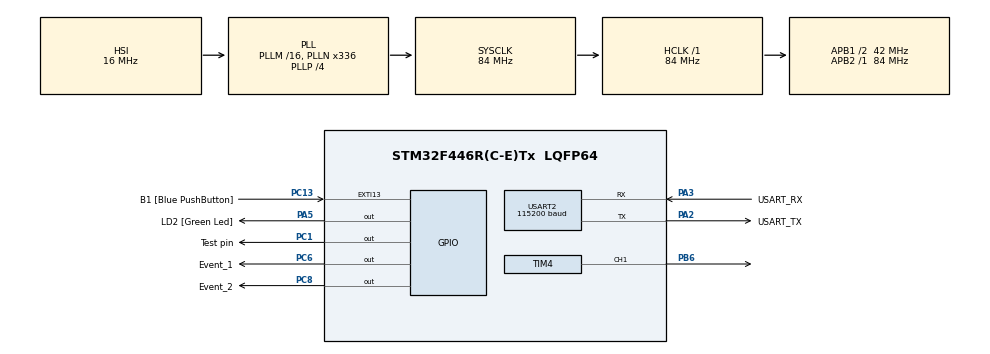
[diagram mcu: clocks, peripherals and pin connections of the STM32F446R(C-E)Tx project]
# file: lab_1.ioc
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ADC1.Channel-0\#ChannelRegularConversion=ADC_CHANNEL_TEMPSENSOR
ADC1.ClockPrescaler=ADC_CLOCK_SYNC_PCLK_DIV8
ADC1.ContinuousConvMode=ENABLE
ADC1.NbrOfConversionFlag=1
ADC1.Rank-0\#ChannelRegularConversion=1
ADC1.Resolution=ADC_RESOLUTION_12B
ADC1.SamplingTime-0\#ChannelRegularConversion=ADC_SAMPLETIME_3CYCLES
ADC1.master=1
Mcu.Family=STM32F4
Mcu.Name=STM32F446R(C-E)Tx
Mcu.Package=LQFP64
NVIC.ADC_IRQn=true\:0\:0\:false\:false\:true\:true\:true
NVIC.EXTI15_10_IRQn=true\:0\:0\:false\:false\:true\:true\:true
NVIC.PriorityGroup=NVIC_PRIORITYGROUP_0
NVIC.USART2_IRQn=true\:0\:0\:false\:false\:true\:true\:true
PA13.GPIO_Label=TMS
PA13.Mode=Serial_Wire
PA13.Signal=SYS_JTMS-SWDIO
PA14.GPIO_Label=TCK
PA14.Mode=Serial_Wire
PA14.Signal=SYS_JTCK-SWCLK
PA2.GPIO_Label=USART_TX
PA2.Mode=Asynchronous
PA2.Signal=USART2_TX
PA3.GPIO_Label=USART_RX
PA3.Mode=Asynchronous
PA3.Signal=USART2_RX
PA5.GPIO_Label=LD2 [Green Led]
PA5.Signal=GPIO_Output
PB3.GPIO_Label=SWO
PB3.Signal=SYS_JTDO-SWO
PB6.Signal=S_TIM4_CH1
PC1.GPIO_Label=Test pin
PC1.GPIO_ModeDefaultOutputPP=GPIO_MODE_OUTPUT_PP
PC1.Signal=GPIO_Output
PC13.GPIO_Label=B1 [Blue PushButton]
PC13.GPIO_ModeDefaultEXTI=GPIO_MODE_IT_FALLING
PC13.Signal=GPXTI13
PC14-OSC32_IN.Mode=LSE-External-Oscillator
PC14-OSC32_IN.Signal=RCC_OSC32_IN
PC15-OSC32_OUT.Mode=LSE-External-Oscillator
PC15-OSC32_OUT.Signal=RCC_OSC32_OUT
PC6.GPIO_Label=Event_1
PC6.Signal=GPIO_Output
PC8.GPIO_Label=Event_2
PC8.Signal=GPIO_Output
PH0-OSC_IN.Mode=HSE-External-Oscillator
PH0-OSC_IN.Signal=RCC_OSC_IN
PH1-OSC_OUT.Mode=HSE-External-Oscillator
PH1-OSC_OUT.Signal=RCC_OSC_OUT
ProjectManager.HeapSize=0x200
ProjectManager.StackSize=0x400
ProjectManager.TargetToolchain=STM32CubeIDE
RCC.48MHZClocksFreq_Value=84000000
RCC.AHBFreq_Value=84000000
RCC.APB1CLKDivider=RCC_HCLK_DIV2
RCC.APB1Freq_Value=42000000
RCC.APB1TimFreq_Value=84000000
RCC.APB2Freq_Value=84000000
RCC.APB2TimFreq_Value=84000000
RCC.CortexFreq_Value=84000000
RCC.FLatency-AdvancedSettings=FLASH_LATENCY_2
RCC.HCLKFreq_Value=84000000
RCC.HSE_VALUE=8000000
RCC.HSI_VALUE=16000000
RCC.PLLN=336
RCC.PLLP=RCC_PLLP_DIV4
RCC.SYSCLKFreq_VALUE=84000000
RCC.SYSCLKSource=RCC_SYSCLKSOURCE_PLLCLK
RCC.USBFreq_Value=168000000
RCC.VCOOutputFreq_Value=336000000
SH.S_TIM4_CH1.0=TIM4_CH1,Output Compare1 CH1
TIM4.Channel-Output\ Compare1\ CH1=TIM_CHANNEL_1
TIM4.CounterMode=TIM_COUNTERMODE_DOWN
TIM4.OCMode_1=TIM_OCMODE_TOGGLE
TIM4.Period=10000
TIM4.Prescaler=83
TIM4.Pulse-Output\ Compare1\ CH1=10
USART2.BaudRate=115200
USART2.VirtualMode=VM_ASYNC
VP_ADC1_TempSens_Input.Mode=IN-TempSens
VP_TIM4_VS_ClockSourceINT.Mode=Internal
board=NUCLEO-F446RE

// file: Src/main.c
/* USER CODE BEGIN Header */
/**
  ******************************************************************************
  * @file           : main.c
  * @brief          : Main program body
  ******************************************************************************
  ** This notice applies to any and all portions of this file
  * that are not between comment pairs USER CODE BEGIN and
  * USER CODE END. Other portions of this file, whether
  * inserted by the user or by software development tools
  * are owned by their respective copyright owners.
  *
  * COPYRIGHT(c) 2019 STMicroelectronics
  *
  * Redistribution and use in source and binary forms, with or without modification,
  * are permitted provided that the following conditions are met:
  *   1. Redistributions of source code must retain the above copyright notice,
  *      this list of conditions and the following disclaimer.
  *   2. Redistributions in binary form must reproduce the above copyright notice,
  *      this list of conditions and the following disclaimer in the documentation
  *      and/or other materials provided with the distribution.
  *   3. Neither the name of STMicroelectronics nor the names of its contributors
  *      may be used to endorse or promote products derived from this software
  *      without specific prior written permission.
  *
  * THIS SOFTWARE IS PROVIDED BY THE COPYRIGHT HOLDERS AND CONTRIBUTORS "AS IS"
  * AND ANY EXPRESS OR IMPLIED WARRANTIES, INCLUDING, BUT NOT LIMITED TO, THE
  * IMPLIED WARRANTIES OF MERCHANTABILITY AND FITNESS FOR A PARTICULAR PURPOSE ARE
  * DISCLAIMED. IN NO EVENT SHALL THE COPYRIGHT HOLDER OR CONTRIBUTORS BE LIABLE
  * FOR ANY DIRECT, INDIRECT, INCIDENTAL, SPECIAL, EXEMPLARY, OR CONSEQUENTIAL
  * DAMAGES (INCLUDING, BUT NOT LIMITED TO, PROCUREMENT OF SUBSTITUTE GOODS OR
  * SERVICES; LOSS OF USE, DATA, OR PROFITS; OR BUSINESS INTERRUPTION) HOWEVER
  * CAUSED AND ON ANY THEORY OF LIABILITY, WHETHER IN CONTRACT, STRICT LIABILITY,
  * OR TORT (INCLUDING NEGLIGENCE OR OTHERWISE) ARISING IN ANY WAY OUT OF THE USE
  * OF THIS SOFTWARE, EVEN IF ADVISED OF THE POSSIBILITY OF SUCH DAMAGE.
  *
  ******************************************************************************
  */
/* USER CODE END Header */

#include "main.h"

/* USER CODE BEGIN Includes */
#include "tasks_lab_1.h"
#include "../Drivers/RTS_libs/FEAT_Scheduler/sch_basic_pub.h"
#include <string.h>

/* USER CODE END Includes */

ADC_HandleTypeDef hadc1;

TIM_HandleTypeDef htim4;

UART_HandleTypeDef huart2;

void SystemClock_Config(void);
static void MX_GPIO_Init(void);
static void MX_USART2_UART_Init(void);
static void MX_ADC1_Init(void);
static void MX_TIM4_Init(void);

/* USER CODE BEGIN 0 */
uint8_t buff[10];
uint8_t buff_size = 1;
/* USER CODE END 0 */

int main(void)
{
  /* USER CODE BEGIN 1 */
	sch_power_up ();

  /* USER CODE END 1 */

  /* MCU Configuration--------------------------------------------------------*/

  /* Reset of all peripherals, Initializes the Flash interface and the Systick. */
  HAL_Init();

  /* Configure the system clock */
  SystemClock_Config();

  /* Initialize all configured peripherals */
  MX_GPIO_Init();
  MX_USART2_UART_Init();
  MX_ADC1_Init();
  MX_TIM4_Init();
  /* USER CODE BEGIN 2 */

  	HAL_UART_Receive_IT(&huart2, buff, buff_size);

	sch_init ();

	lab1_init();

	// Start Timer 4 when SYS TICK increments (to synchronize with it)
	uint32_t old_t = HAL_GetTick();
	while (old_t == HAL_GetTick());	// wait for sys tick to change (increment) -> then start timer
	HAL_TIM_Base_Start(&htim4);
	HAL_TIM_OC_Start(&htim4, TIM_CHANNEL_1 );

	// Calibration section - enable to verify calibration settings
	// Experimental timer 4 correction:
	#define CAL_DIV 10

//#if(1)
#if(0)
	// Maximum calibration points
	#define CAL_MAX 10
	static int t[CAL_MAX] = {1,2,3,4,5,9,10,11,1001,10000};
	static uint32_t t4_cal[CAL_MAX] = {0};

//	for (int t=1009; t<20000; t+=1000)
	for ( int i = 0; i<CAL_MAX; i++)
	{
		while (old_t + t[i] + 1 > HAL_GetTick()); // Wait for specific number of ticks and them measure the timer value to get calibration
		t4_cal[i] = __HAL_TIM_GET_COUNTER(&htim4);
	}
	char temp_str[30];
	sprintf(temp_str, "%d, old ticks\n",old_t);
	HAL_UART_Transmit(&huart2, (uint8_t*)temp_str, strlen(temp_str),10);
	for (int i=0; i< CAL_MAX; i++)
	{
		int32_t expected = ( (1000* (t[i] % 10) ) - (t[i]/CAL_DIV) ); while(expected<0) expected+=10000; expected %= 10000;
		sprintf(temp_str, "%d ticks (mod 10ms) => 10000-%lu=%lu, expected=%lu us\n", t[i], t4_cal[i], 10000-t4_cal[i], expected);
		HAL_UART_Transmit(&huart2, (uint8_t*)temp_str, strlen((char*)temp_str),10);
	}
	// In my runs it demonstrated a 1/10000th difference between HAL/system ticks (1ms resolution) and timer 4 count (1us resolution)
	//     i.e. for very 10,000 ms ticks the timer 4 showed 1ms less on timer count (correction by - ticks/10)
#endif // Calibration section

  /* USER CODE END 2 */

  /* Infinite loop */
  while (1)
  {

    /* USER CODE BEGIN 3 */

	  sch_loop();
  }
  /* USER CODE END 3 */
}

void SystemClock_Config(void)
{
  RCC_OscInitTypeDef RCC_OscInitStruct = {0};
  RCC_ClkInitTypeDef RCC_ClkInitStruct = {0};

  /** Configure the main internal regulator output voltage
  */
  __HAL_RCC_PWR_CLK_ENABLE();
  __HAL_PWR_VOLTAGESCALING_CONFIG(PWR_REGULATOR_VOLTAGE_SCALE3);
  /** Initializes the CPU, AHB and APB busses clocks
  */
  RCC_OscInitStruct.OscillatorType = RCC_OSCILLATORTYPE_HSI;
  RCC_OscInitStruct.HSIState = RCC_HSI_ON;
  RCC_OscInitStruct.HSICalibrationValue = RCC_HSICALIBRATION_DEFAULT;
  RCC_OscInitStruct.PLL.PLLState = RCC_PLL_ON;
  RCC_OscInitStruct.PLL.PLLSource = RCC_PLLSOURCE_HSI;
  RCC_OscInitStruct.PLL.PLLM = 16;
  RCC_OscInitStruct.PLL.PLLN = 336;
  RCC_OscInitStruct.PLL.PLLP = RCC_PLLP_DIV4;
  RCC_OscInitStruct.PLL.PLLQ = 2;
  RCC_OscInitStruct.PLL.PLLR = 2;
  if (HAL_RCC_OscConfig(&RCC_OscInitStruct) != HAL_OK)
  {
    Error_Handler();
  }
  /** Initializes the CPU, AHB and APB busses clocks
  */
  RCC_ClkInitStruct.ClockType = RCC_CLOCKTYPE_HCLK|RCC_CLOCKTYPE_SYSCLK
                              |RCC_CLOCKTYPE_PCLK1|RCC_CLOCKTYPE_PCLK2;
  RCC_ClkInitStruct.SYSCLKSource = RCC_SYSCLKSOURCE_PLLCLK;
  RCC_ClkInitStruct.AHBCLKDivider = RCC_SYSCLK_DIV1;
  RCC_ClkInitStruct.APB1CLKDivider = RCC_HCLK_DIV2;
  RCC_ClkInitStruct.APB2CLKDivider = RCC_HCLK_DIV1;

  if (HAL_RCC_ClockConfig(&RCC_ClkInitStruct, FLASH_LATENCY_2) != HAL_OK)
  {
    Error_Handler();
  }
}

static void MX_ADC1_Init(void)
{

  ADC_ChannelConfTypeDef sConfig = {0};

  /** Configure the global features of the ADC (Clock, Resolution, Data Alignment and number of conversion)
  */
  hadc1.Instance = ADC1;
  hadc1.Init.ClockPrescaler = ADC_CLOCK_SYNC_PCLK_DIV8;
  hadc1.Init.Resolution = ADC_RESOLUTION_12B;
  hadc1.Init.ScanConvMode = DISABLE;
  hadc1.Init.ContinuousConvMode = ENABLE;
  hadc1.Init.DiscontinuousConvMode = DISABLE;
  hadc1.Init.ExternalTrigConvEdge = ADC_EXTERNALTRIGCONVEDGE_NONE;
  hadc1.Init.ExternalTrigConv = ADC_SOFTWARE_START;
  hadc1.Init.DataAlign = ADC_DATAALIGN_RIGHT;
  hadc1.Init.NbrOfConversion = 1;
  hadc1.Init.DMAContinuousRequests = DISABLE;
  hadc1.Init.EOCSelection = ADC_EOC_SINGLE_CONV;
  if (HAL_ADC_Init(&hadc1) != HAL_OK)
  {
    Error_Handler();
  }
  /** Configure for the selected ADC regular channel its corresponding rank in the sequencer and its sample time.
  */
  sConfig.Channel = ADC_CHANNEL_TEMPSENSOR;
  sConfig.Rank = 1;
  sConfig.SamplingTime = ADC_SAMPLETIME_3CYCLES;
  if (HAL_ADC_ConfigChannel(&hadc1, &sConfig) != HAL_OK)
  {
    Error_Handler();
  }

}

static void MX_TIM4_Init(void)
{

  TIM_ClockConfigTypeDef sClockSourceConfig = {0};
  TIM_MasterConfigTypeDef sMasterConfig = {0};
  TIM_OC_InitTypeDef sConfigOC = {0};

  htim4.Instance = TIM4;
  htim4.Init.Prescaler = 83;
  htim4.Init.CounterMode = TIM_COUNTERMODE_DOWN;
  htim4.Init.Period = 10000;
  htim4.Init.ClockDivision = TIM_CLOCKDIVISION_DIV1;
  htim4.Init.AutoReloadPreload = TIM_AUTORELOAD_PRELOAD_DISABLE;
  if (HAL_TIM_Base_Init(&htim4) != HAL_OK)
  {
    Error_Handler();
  }
  sClockSourceConfig.ClockSource = TIM_CLOCKSOURCE_INTERNAL;
  if (HAL_TIM_ConfigClockSource(&htim4, &sClockSourceConfig) != HAL_OK)
  {
    Error_Handler();
  }
  if (HAL_TIM_OC_Init(&htim4) != HAL_OK)
  {
    Error_Handler();
  }
  sMasterConfig.MasterOutputTrigger = TIM_TRGO_RESET;
  sMasterConfig.MasterSlaveMode = TIM_MASTERSLAVEMODE_DISABLE;
  if (HAL_TIMEx_MasterConfigSynchronization(&htim4, &sMasterConfig) != HAL_OK)
  {
    Error_Handler();
  }
  sConfigOC.OCMode = TIM_OCMODE_TOGGLE;
  sConfigOC.Pulse = 10;
  sConfigOC.OCPolarity = TIM_OCPOLARITY_HIGH;
  sConfigOC.OCFastMode = TIM_OCFAST_DISABLE;
  if (HAL_TIM_OC_ConfigChannel(&htim4, &sConfigOC, TIM_CHANNEL_1) != HAL_OK)
  {
    Error_Handler();
  }
  HAL_TIM_MspPostInit(&htim4);

}

static void MX_USART2_UART_Init(void)
{

  huart2.Instance = USART2;
  huart2.Init.BaudRate = 115200;
  huart2.Init.WordLength = UART_WORDLENGTH_8B;
  huart2.Init.StopBits = UART_STOPBITS_1;
  huart2.Init.Parity = UART_PARITY_NONE;
  huart2.Init.Mode = UART_MODE_TX_RX;
  huart2.Init.HwFlowCtl = UART_HWCONTROL_NONE;
  huart2.Init.OverSampling = UART_OVERSAMPLING_16;
  if (HAL_UART_Init(&huart2) != HAL_OK)
  {
    Error_Handler();
  }

}

static void MX_GPIO_Init(void)
{
  GPIO_InitTypeDef GPIO_InitStruct = {0};

  /* GPIO Ports Clock Enable */
  __HAL_RCC_GPIOC_CLK_ENABLE();
  __HAL_RCC_GPIOH_CLK_ENABLE();
  __HAL_RCC_GPIOA_CLK_ENABLE();
  __HAL_RCC_GPIOB_CLK_ENABLE();

  /*Configure GPIO pin Output Level */
  HAL_GPIO_WritePin(GPIOC, Test_pin_Pin|Event_1_Pin|Event_2_Pin, GPIO_PIN_RESET);

  /*Configure GPIO pin Output Level */
  HAL_GPIO_WritePin(LD2_GPIO_Port, LD2_Pin, GPIO_PIN_RESET);

  /*Configure GPIO pin : B1_Pin */
  GPIO_InitStruct.Pin = B1_Pin;
  GPIO_InitStruct.Mode = GPIO_MODE_IT_FALLING;
  GPIO_InitStruct.Pull = GPIO_NOPULL;
  HAL_GPIO_Init(B1_GPIO_Port, &GPIO_InitStruct);

  /*Configure GPIO pins : Test_pin_Pin Event_1_Pin Event_2_Pin */
  GPIO_InitStruct.Pin = Test_pin_Pin|Event_1_Pin|Event_2_Pin;
  GPIO_InitStruct.Mode = GPIO_MODE_OUTPUT_PP;
  GPIO_InitStruct.Pull = GPIO_NOPULL;
  GPIO_InitStruct.Speed = GPIO_SPEED_FREQ_LOW;
  HAL_GPIO_Init(GPIOC, &GPIO_InitStruct);

  /*Configure GPIO pin : LD2_Pin */
  GPIO_InitStruct.Pin = LD2_Pin;
  GPIO_InitStruct.Mode = GPIO_MODE_OUTPUT_PP;
  GPIO_InitStruct.Pull = GPIO_NOPULL;
  GPIO_InitStruct.Speed = GPIO_SPEED_FREQ_LOW;
  HAL_GPIO_Init(LD2_GPIO_Port, &GPIO_InitStruct);

  /* EXTI interrupt init*/
  HAL_NVIC_SetPriority(EXTI15_10_IRQn, 0, 0);
  HAL_NVIC_EnableIRQ(EXTI15_10_IRQn);

}

/* USER CODE BEGIN 4 */
void HAL_GPIO_EXTI_Callback(uint16_t GPIO_Pin )
{

	if(GPIO_Pin == B1_Pin)
	{
		check_input_loop();
	}
}

void HAL_UART_RxCpltCallback(UART_HandleTypeDef *huart)
{
	HAL_UART_Receive_IT(&huart2, buff, buff_size);		//resets receive interrupt allowing future calls
	check_uart_loop(&buff);
}

void HAL_ADC_ConvCpltCallback(ADC_HandleTypeDef *hadc)
{
	read_adc_loop();
}
/* USER CODE END 4 */

void Error_Handler(void)
{
}

/************************ (C) COPYRIGHT STMicroelectronics *****END OF FILE****/
